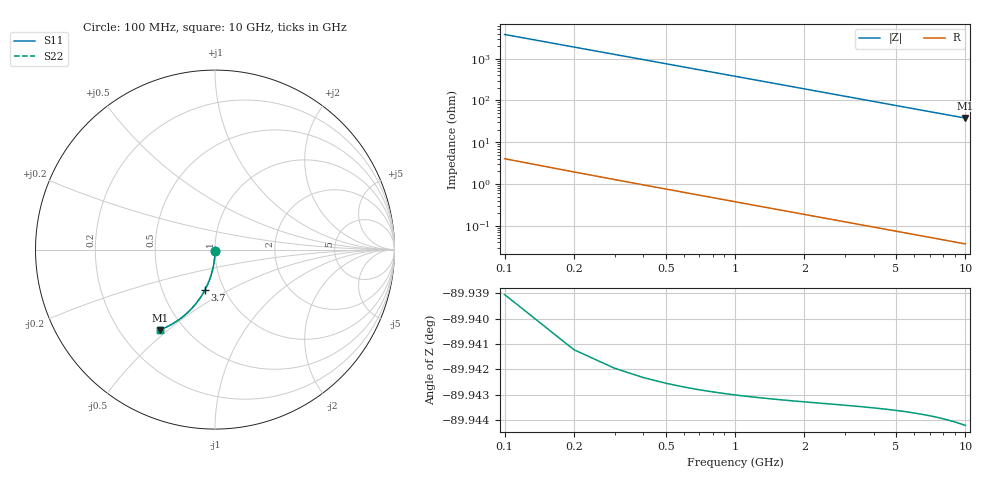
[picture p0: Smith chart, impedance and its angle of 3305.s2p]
# Hz S RI R 50.00
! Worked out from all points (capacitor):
!   100 points, 100 MHz to 10 GHz, reference 50 ohm
!   read as one part in shunt: C = 420 fF near 100 MHz
!   lowest |Z| = 37.8 ohm at 10 GHz (marker M1)
!   S11 on the Smith chart (normalised r, x): 100 MHz: 1.00, -0.01; 3.7 GHz: 0.81, -0.39; 10 GHz: 0.37, -0.47
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1e8  -2.51e-05 -0.00646  0.9999 -0.00672  0.9999 -0.00672  -2.51e-05 -0.00646
2e8  -0.000162 -0.0129  0.9998 -0.0134  0.9998 -0.0134  -0.000162 -0.0129
3e8  -0.000385 -0.0194  0.9996 -0.0202  0.9996 -0.0202  -0.000385 -0.0194
4e8  -0.000696 -0.0258  0.9993 -0.0269  0.9993 -0.0269  -0.000696 -0.0258
5e8  -0.00109 -0.0323  0.9989 -0.0336  0.9989 -0.0336  -0.00109 -0.0323
6e8  -0.00158 -0.0387  0.9984 -0.0403  0.9984 -0.0403  -0.00158 -0.0387
7e8  -0.00215 -0.0452  0.9978 -0.047  0.9978 -0.047  -0.00215 -0.0452
8e8  -0.0028 -0.0516  0.9971 -0.0537  0.9971 -0.0537  -0.0028 -0.0516
9e8  -0.00354 -0.058  0.9964 -0.0603  0.9964 -0.0603  -0.00354 -0.058
1.1e9  -0.00528 -0.0708  0.9947 -0.0736  0.9947 -0.0736  -0.00528 -0.0708
1.4e9  -0.00853 -0.0898  0.9914 -0.0934  0.9914 -0.0934  -0.00853 -0.0898
1.8e9  -0.014 -0.1148  0.9859 -0.1195  0.9859 -0.1195  -0.014 -0.1148
2.1e9  -0.019 -0.1333  0.981 -0.1388  0.981 -0.1388  -0.019 -0.1333
2.5e9  -0.0267 -0.1575  0.9732 -0.164  0.9732 -0.164  -0.0267 -0.1575
2.9e9  -0.0356 -0.1811  0.9643 -0.1887  0.9643 -0.1887  -0.0356 -0.1811
3.4e9  -0.0483 -0.2096  0.9516 -0.2185  0.9516 -0.2185  -0.0483 -0.2096
3.7e9  -0.0567 -0.2261  0.9432 -0.2358  0.9432 -0.2358  -0.0567 -0.2261
4.4e9  -0.0785 -0.2628  0.9214 -0.2743  0.9214 -0.2743  -0.0785 -0.2628
5.1e9  -0.1028 -0.2966  0.897 -0.31  0.897 -0.31  -0.1028 -0.2966
6.7e9  -0.1655 -0.3624  0.8343 -0.3801  0.8343 -0.3801  -0.1655 -0.3624
8.4e9  -0.2382 -0.4143  0.7615 -0.4368  0.7615 -0.4368  -0.2382 -0.4143
1e10  -0.3076 -0.4476  0.692 -0.4745  0.692 -0.4745  -0.3076 -0.4476
